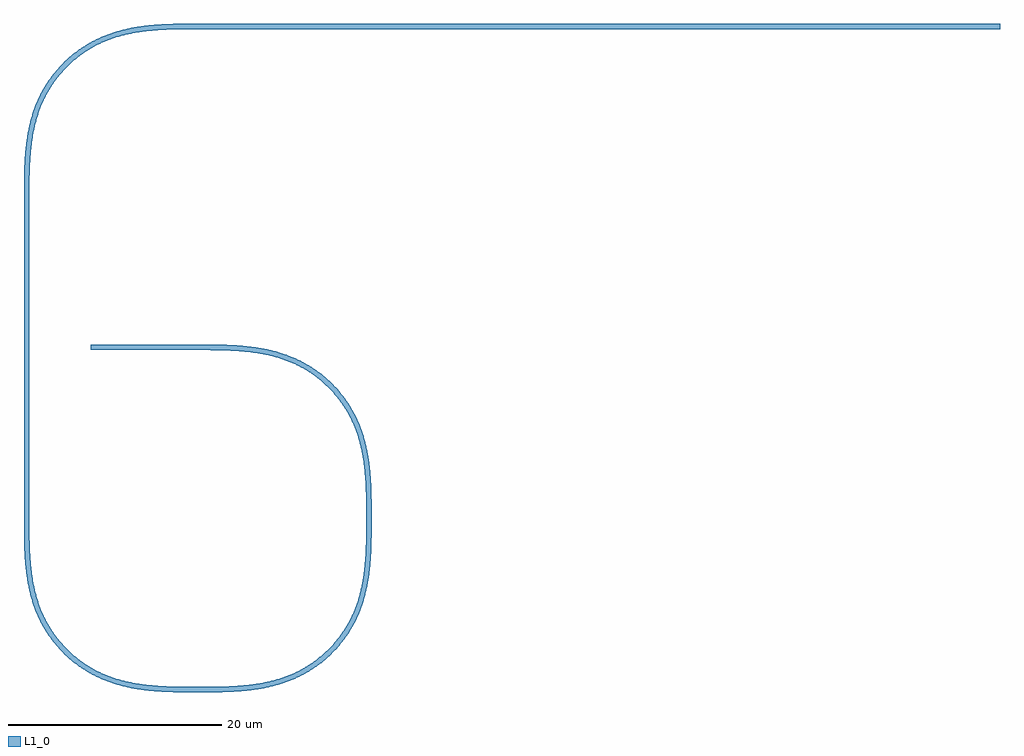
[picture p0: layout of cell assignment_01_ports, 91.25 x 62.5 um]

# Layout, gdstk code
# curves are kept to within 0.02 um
from math import pi, radians
import gdstk
lib = gdstk.Library(unit=1e-6, precision=1e-09)
def R(c, l, rs):  # rectangles x0, y0, x1, y1
    for r in rs: c.add(gdstk.rectangle(r[:2], r[2:], *l))
def P(c, l, *ps):  # polygons
    for p in ps: c.add(gdstk.Polygon(p, *l))
L1_0 = (1, 0)

straight_gdsfactorypcomp = lib.new_cell('straight_gdsfactorypcomponentspwaveguidespstraight_L10__f2286423')
R(straight_gdsfactorypcomp, L1_0, [(0,-0.25,10,0.25)])

c_straight_gdsfactorypcomp = lib.new_cell('straight_gdsfactorypcomponentspwaveguidespstraight_L25__e0f5a055')
R(c_straight_gdsfactorypcomp, L1_0, [(0,-0.25,25,0.25)])

bend_euler_gdsfactorypco = lib.new_cell('bend_euler_gdsfactorypcomponentspbendspbend_euler_R16_A_812c60fe')
P(bend_euler_gdsfactorypco, L1_0, [(0,-0.25),(0,0.25),(2.679,0.282),(4.54,0.407),(5.462,0.525),(6.244,0.663),(7.145,0.874),(7.902,1.103),(9.137,1.599),(10.209,2.181),(11.211,2.877),(11.732,3.31),(12.226,3.774),(12.69,4.268),(13.123,4.789),(13.819,5.791),(14.401,6.863),(14.897,8.098),(15.126,8.855),(15.337,9.756),(15.475,10.538),(15.593,11.46),(15.718,13.321),(15.75,16),(16.25,16),(16.218,13.303),(16.117,11.679),(15.879,9.925),(15.535,8.462),(15.281,7.679),(15.027,7.037),(14.728,6.394),(14.39,5.772),(14.015,5.171),(13.604,4.594),(13.158,4.044),(12.579,3.421),(11.956,2.842),(11.406,2.396),(10.829,1.985),(10.228,1.61),(9.606,1.272),(8.963,0.973),(8.321,0.719),(7.538,0.465),(6.075,0.121),(4.321,-0.117),(2.697,-0.218)])

c_straight_gdsfactorypcomp_ = lib.new_cell('straight_gdsfactorypcomponentspwaveguidespstraight_L30__a17b4e39')
R(c_straight_gdsfactorypcomp_, L1_0, [(0,-0.25,30,0.25)])

c_straight_gdsfactorypcomp__ = lib.new_cell('straight_gdsfactorypcomponentspwaveguidespstraight_L50__26496ac8')
R(c_straight_gdsfactorypcomp__, L1_0, [(0,-0.25,50,0.25)])

assignment_01_ports = lib.new_cell('assignment_01_ports')
assignment_01_ports.add(gdstk.Reference(straight_gdsfactorypcomp, (0,0)))
assignment_01_ports.add(gdstk.Reference(c_straight_gdsfactorypcomp, (60,30)))
assignment_01_ports.add(gdstk.Reference(bend_euler_gdsfactorypco, (26,-16), rotation=pi/2))
assignment_01_ports.add(gdstk.Reference(bend_euler_gdsfactorypco, (10,-32)))
assignment_01_ports.add(gdstk.Reference(bend_euler_gdsfactorypco, (-6,-16), rotation=3*pi/2))
assignment_01_ports.add(gdstk.Reference(bend_euler_gdsfactorypco, (10,30), rotation=pi))
assignment_01_ports.add(gdstk.Reference(c_straight_gdsfactorypcomp_, (-6,-16), rotation=pi/2))
assignment_01_ports.add(gdstk.Reference(c_straight_gdsfactorypcomp__, (10,30)))

lib.write_gds('assignment_01_ports.gds')
